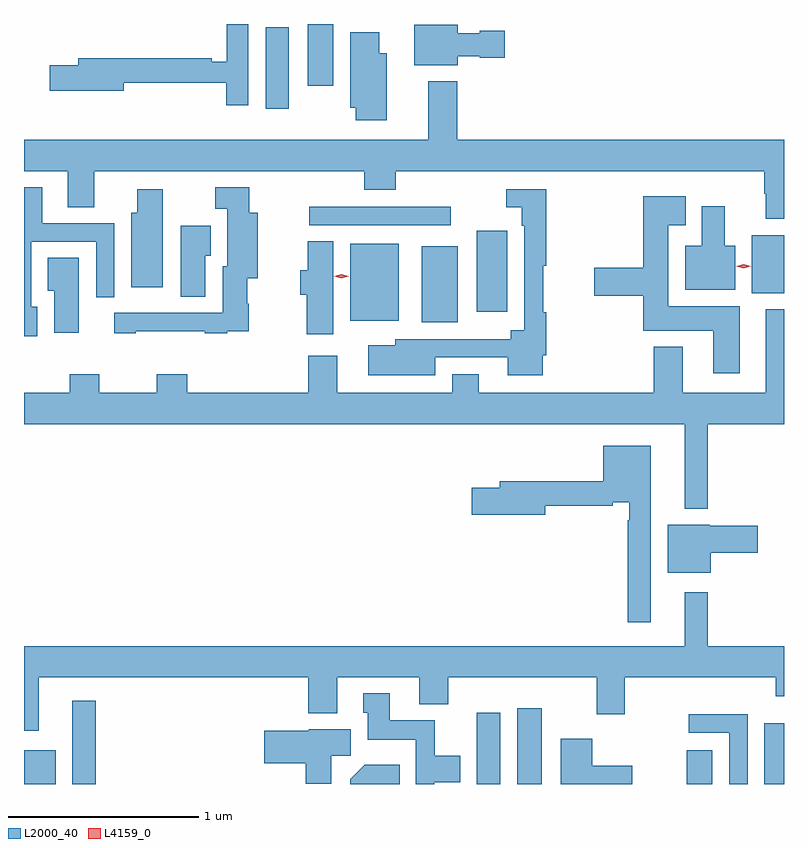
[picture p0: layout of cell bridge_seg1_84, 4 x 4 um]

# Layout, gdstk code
import gdstk
lib = gdstk.Library(unit=1e-6, precision=1e-09)
def R(c, l, rs):  # rectangles x0, y0, x1, y1
    for r in rs: c.add(gdstk.rectangle(r[:2], r[2:], *l))
def P(c, l, *ps):  # polygons
    for p in ps: c.add(gdstk.Polygon(p, *l))
L2000_40 = (2000, 40)
L4159_0 = (4159, 0)

bridge_seg1_84 = lib.new_cell('bridge_seg1_84')
R(bridge_seg1_84, L2000_40, [(543.044,517.87,543.211,518.047), (543.299,517.87,543.421,518.308), (545.426,517.87,545.551,518.245), (545.639,517.87,545.77,518.269), (546.533,517.87,546.667,518.047), (546.941,517.87,547.044,518.191), (545.138,520.301,545.326,520.699), (544.76,520.307,545.017,520.714), (545.426,520.356,545.587,520.783), (546.875,520.454,547.044,520.759), (544.545,520.812,545.29,520.908), (544.316,521.424,544.438,521.854), (544.538,521.544,544.672,521.87)])
P(bridge_seg1_84, L2000_40, [(544.224,521.87),(544.112,521.87),(544.112,521.672),(544.031,521.672),(544.031,521.69),(543.329,521.69),(543.329,521.654),(543.18,521.654),(543.18,521.519),(543.568,521.519),(543.568,521.562),(544.108,521.562),(544.108,521.442),(544.224,521.442)],
  [(545.326,521.699),(545.442,521.699),(545.442,521.692),(545.575,521.692),(545.575,521.834),(545.442,521.834),(545.442,521.821),(545.326,521.821),(545.326,521.866),(545.099,521.866),(545.099,521.654),(545.326,521.654)],
  [(544.954,521.716),(544.915,521.716),(544.915,521.827),(544.76,521.827),(544.76,521.429),(544.789,521.429),(544.789,521.364),(544.954,521.364)],
  [(547.044,521.26),(545.324,521.26),(545.324,521.569),(545.171,521.569),(545.171,521.26),(543.044,521.26),(543.044,521.096),(543.275,521.096),(543.275,520.906),(543.415,520.906),(543.415,521.096),(544.835,521.096),(544.835,520.997),(545,520.997),(545,521.096),(546.94,521.096),(546.94,520.976),(546.947,520.976),(546.947,520.844),(547.044,520.844)],
  [(543.631,520.252),(543.995,520.252),(543.995,520.242),(544.115,520.242),(544.115,520.254),(544.227,520.254),(544.227,520.397),(544.219,520.397),(544.219,520.532),(544.273,520.532),(544.273,520.876),(544.229,520.876),(544.229,521.011),(544.05,521.011),(544.05,520.898),(544.115,520.898),(544.115,520.596),(544.091,520.596),(544.091,520.35),(543.519,520.35),(543.519,520.242),(543.631,520.242)],
  [(543.115,520.383),(543.081,520.383),(543.081,520.725),(543.423,520.725),(543.423,520.431),(543.519,520.431),(543.519,520.821),(543.139,520.821),(543.139,521.011),(543.044,521.011),(543.044,520.227),(543.115,520.227)],
  [(545.209,520.116),(545.591,520.116),(545.591,520.022),(545.773,520.022),(545.773,520.126),(545.792,520.126),(545.792,520.354),(545.777,520.354),(545.777,520.598),(545.792,520.598),(545.792,521.001),(545.583,521.001),(545.583,520.905),(545.664,520.905),(545.664,520.808),(545.676,520.808),(545.676,520.258),(545.606,520.258),(545.606,520.212),(544.997,520.212),(544.997,520.18),(544.857,520.18),(544.857,520.022),(545.209,520.022)],
  [(543.775,520.999),(543.641,520.999),(543.641,520.876),(543.608,520.876),(543.608,520.484),(543.775,520.484)],
  [(546.811,520.384),(546.436,520.384),(546.436,520.811),(546.526,520.811),(546.526,520.963),(546.302,520.963),(546.302,520.586),(546.045,520.586),(546.045,520.439),(546.302,520.439),(546.302,520.256),(546.671,520.256),(546.671,520.032),(546.811,520.032)],
  [(546.787,520.702),(546.733,520.702),(546.733,520.912),(546.611,520.912),(546.611,520.702),(546.524,520.702),(546.524,520.472),(546.787,520.472)],
  [(543.997,520.651),(544.027,520.651),(544.027,520.807),(543.869,520.807),(543.869,520.435),(543.997,520.435)],
  [(544.672,520.727),(544.538,520.727),(544.538,520.573),(544.499,520.573),(544.499,520.444),(544.531,520.444),(544.531,520.236),(544.672,520.236)],
  [(543.331,520.64),(543.17,520.64),(543.17,520.466),(543.203,520.466),(543.203,520.245),(543.331,520.245)],
  [(547.044,520.369),(546.947,520.369),(546.947,519.928),(546.511,519.928),(546.511,520.171),(546.359,520.171),(546.359,519.928),(545.437,519.928),(545.437,520.027),(545.297,520.027),(545.297,519.928),(544.693,519.928),(544.693,520.123),(544.541,520.123),(544.541,519.928),(543.902,519.928),(543.902,520.027),(543.742,520.027),(543.742,519.928),(543.441,519.928),(543.441,520.027),(543.286,520.027),(543.286,519.928),(543.044,519.928),(543.044,519.764),(546.521,519.764),(546.521,519.32),(546.643,519.32),(546.643,519.764),(547.044,519.764)],
  [(546.343,519.649),(546.092,519.649),(546.092,519.463),(545.549,519.463),(545.549,519.429),(545.4,519.429),(545.4,519.287),(545.788,519.287),(545.788,519.334),(546.143,519.334),(546.143,519.354),(546.229,519.354),(546.229,519.257),(546.222,519.257),(546.222,518.721),(546.343,518.721)],
  [(546.658,519.088),(546.907,519.088),(546.907,519.23),(546.654,519.23),(546.654,519.235),(546.431,519.235),(546.431,518.981),(546.658,518.981)],
  [(543.121,518.432),(544.541,518.432),(544.541,518.243),(544.693,518.243),(544.693,518.432),(545.123,518.432),(545.123,518.291),(545.276,518.291),(545.276,518.432),(546.059,518.432),(546.059,518.238),(546.207,518.238),(546.207,518.432),(547.001,518.432),(547.001,518.333),(547.044,518.333),(547.044,518.596),(546.643,518.596),(546.643,518.878),(546.521,518.878),(546.521,518.596),(543.044,518.596),(543.044,518.151),(543.121,518.151)],
  [(545.202,517.88),(545.341,517.88),(545.341,518.02),(545.205,518.02),(545.205,518.206),(544.969,518.206),(544.969,518.347),(544.829,518.347),(544.829,518.244),(544.853,518.244),(544.853,518.102),(545.106,518.102),(545.106,517.87),(545.202,517.87)],
  [(546.852,518.237),(546.543,518.237),(546.543,518.139),(546.756,518.139),(546.756,517.87),(546.852,517.87)],
  [(544.66,518.02),(544.765,518.02),(544.765,518.158),(544.542,518.158),(544.542,518.149),(544.308,518.149),(544.308,517.979),(544.526,517.979),(544.526,517.871),(544.66,517.871)],
  [(546.244,517.966),(546.034,517.966),(546.034,518.107),(545.87,518.107),(545.87,517.87),(546.244,517.87)],
  [(545.021,517.972),(544.838,517.972),(544.76,517.894),(544.76,517.87),(545.021,517.87)])
P(bridge_seg1_84, L4159_0, [(546.831,520.585),(546.792,520.595),(546.792,520.595),(546.792,520.595),(546.831,520.605),(546.869,520.595),(546.87,520.595),(546.869,520.595)],
  [(544.715,520.532),(544.676,520.542),(544.676,520.543),(544.676,520.543),(544.715,520.552),(544.753,520.542),(544.753,520.542),(544.753,520.542)])

lib.write_gds('bridge_seg1_84.gds')
